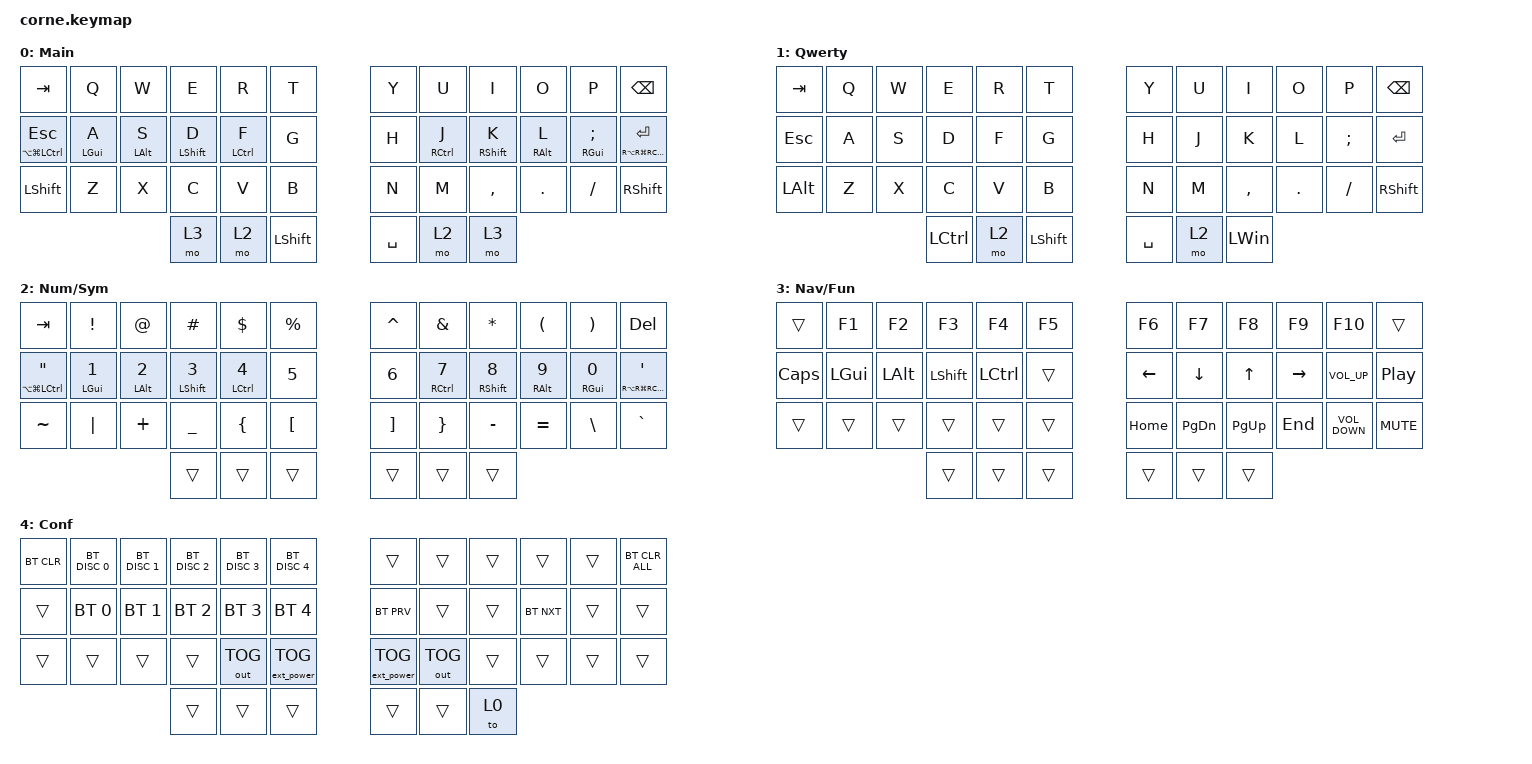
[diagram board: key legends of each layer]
/*
 * Copyright (c) 2020 The ZMK Contributors
 *
 * SPDX-License-Identifier: MIT
 */

#include <behaviors.dtsi>
#include <dt-bindings/zmk/bt.h>
#include <dt-bindings/zmk/ext_power.h>
#include <dt-bindings/zmk/keys.h>
#include <dt-bindings/zmk/outputs.h>

&mt {
    tapping-term-ms = <200>;
    quick-tap-ms = <160>;
    flavor = "tap-preferred";
    require-prior-idle-ms = <0>;
    retro-tap;
    hold-trigger-key-positions = <>;
};

/ {
    combos {
        compatible = "zmk,combos";

        Conf {
            bindings = <&to 4>;
            key-positions = <36 41>;
            layers = <0 1>;
        };

        Qwerty {
            bindings = <&to 1>;
            key-positions = <37 40>;
            layers = <0>;
        };

        Main {
            bindings = <&to 0>;
            key-positions = <37 40>;
            layers = <1 4>;
        };
    };

    keymap {
        compatible = "zmk,keymap";

        Main {
            label = "Main";
            bindings = <
&kp TAB                   &kp Q           &kp W           &kp E             &kp R        &kp T             &kp Y      &kp U        &kp I              &kp O            &kp P                    &kp BACKSPACE
&mt LA(LG(LCTRL)) ESCAPE  &mt LEFT_GUI A  &mt LEFT_ALT S  &mt LEFT_SHIFT D  &mt LCTRL F  &kp G             &kp H      &mt RCTRL J  &mt RIGHT_SHIFT K  &mt RIGHT_ALT L  &mt RIGHT_GUI SEMICOLON  &mt RA(RG(RCTRL)) RET
&kp LEFT_SHIFT            &kp Z           &kp X           &kp C             &kp V        &kp B             &kp N      &kp M        &kp COMMA          &kp PERIOD       &kp SLASH                &kp RIGHT_SHIFT
                                                          &mo 3             &mo 2        &kp LEFT_SHIFT    &kp SPACE  &mo 2        &mo 3
            >;
        };

        Qwerty {
            bindings = <
&kp TAB       &kp Q  &kp W  &kp E      &kp R  &kp T             &kp Y      &kp U  &kp I         &kp O    &kp P     &kp BSPC
&kp ESC       &kp A  &kp S  &kp D      &kp F  &kp G             &kp H      &kp J  &kp K         &kp L    &kp SEMI  &kp RET
&kp LEFT_ALT  &kp Z  &kp X  &kp C      &kp V  &kp B             &kp N      &kp M  &kp COMMA     &kp DOT  &kp FSLH  &kp RSHFT
                            &kp LCTRL  &mo 2  &kp LEFT_SHIFT    &kp SPACE  &mo 2  &kp LEFT_WIN
            >;

            label = "Qwerty";
        };

        Nb-Sym {
            bindings = <
&kp TAB                          &kp EXCLAMATION        &kp AT                 &kp HASH                 &kp DOLLAR          &kp PERCENT         &kp CARET          &kp AMPERSAND       &kp ASTERISK              &kp LEFT_PARENTHESIS    &kp RIGHT_PARENTHESIS   &kp DELETE
&mt LA(LG(LCTRL)) DOUBLE_QUOTES  &mt LEFT_GUI NUMBER_1  &mt LEFT_ALT NUMBER_2  &mt LEFT_SHIFT NUMBER_3  &mt LCTRL NUMBER_4  &kp NUMBER_5        &kp NUMBER_6       &mt RCTRL NUMBER_7  &mt RIGHT_SHIFT NUMBER_8  &mt RIGHT_ALT NUMBER_9  &mt RIGHT_GUI NUMBER_0  &mt RA(RG(RCTRL)) SINGLE_QUOTE
&kp TILDE                        &kp PIPE               &kp PLUS               &kp UNDER                &kp LEFT_BRACE      &kp LEFT_BRACKET    &kp RIGHT_BRACKET  &kp RIGHT_BRACE     &kp MINUS                 &kp EQUAL               &kp BACKSLASH           &kp GRAVE
                                                                               &trans                   &trans              &trans              &trans             &trans              &trans
            >;

            label = "Num/Sym";
        };

        Nav-Fn {
            bindings = <
&trans    &kp F1        &kp F2        &kp F3          &kp F4     &kp F5    &kp F6    &kp F7         &kp F8       &kp F9     &kp F10            &trans
&kp CAPS  &kp LEFT_GUI  &kp LEFT_ALT  &kp LEFT_SHIFT  &kp LCTRL  &trans    &kp LEFT  &kp DOWN       &kp UP       &kp RIGHT  &kp C_VOLUME_UP    &kp C_PLAY_PAUSE
&trans    &trans        &trans        &trans          &trans     &trans    &kp HOME  &kp PAGE_DOWN  &kp PAGE_UP  &kp END    &kp C_VOLUME_DOWN  &kp K_MUTE
                                      &trans          &trans     &trans    &trans    &trans         &trans
            >;

            label = "Nav/Fun";
        };

        Conf {
            bindings = <
&bt BT_CLR  &bt BT_DISC 0  &bt BT_DISC 1  &bt BT_DISC 2  &bt BT_DISC 3  &bt BT_DISC 4        &trans             &trans        &trans  &trans      &trans  &bt BT_CLR_ALL
&trans      &bt BT_SEL 0   &bt BT_SEL 1   &bt BT_SEL 2   &bt BT_SEL 3   &bt BT_SEL 4         &bt BT_PRV         &trans        &trans  &bt BT_NXT  &trans  &trans
&trans      &trans         &trans         &trans         &out OUT_TOG   &ext_power EP_TOG    &ext_power EP_TOG  &out OUT_TOG  &trans  &trans      &trans  &trans
                                          &trans         &trans         &trans               &trans             &trans        &to 0
            >;

            label = "Conf";
        };
    };

    conditional_layers { compatible = "zmk,conditional-layers"; };
};
